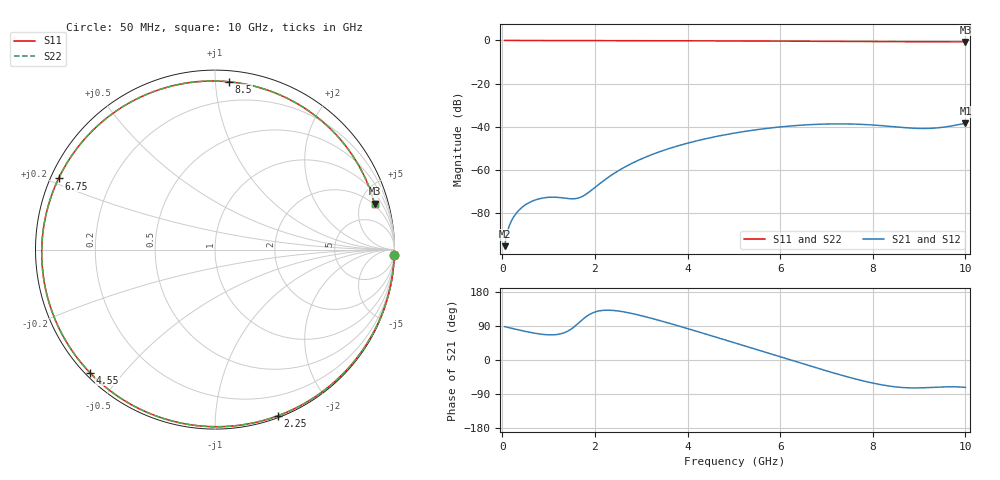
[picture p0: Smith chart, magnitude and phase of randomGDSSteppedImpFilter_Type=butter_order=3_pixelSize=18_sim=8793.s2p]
! freq	dB(S11)	phase(S11)	dB(S12)	phase(S12)
!  dB(S21)	phase(S21)	dB(S22)	phase(S22)
!S-par simulation data
#  GHz  S  DB  R 50
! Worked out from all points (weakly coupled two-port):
!   200 points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, 50 MHz to 10 GHz, reference 50 ohm
!   highest |S21| = -38.39 dB at 10 GHz (marker M1); lowest = -95.3 dB at 50 MHz (marker M2)
!   lowest |S11| = -0.7 dB at 10 GHz (marker M3), VSWR 25.69, Z = 92.5 + j329 ohm
!   |S11| at or under -10 dB: nowhere
!   |S22| runs from -0.7 to 0.0 dB; largest |S21 - S12| = 0
!   S11 on the Smith chart (normalised r, x): 50 MHz: 2, -72; 2.25 GHz: 0.02, -1.45; 4.55 GHz: 0.01, -0.41; 6.75 GHz: 0.02, +0.22; 8.5 GHz: 0.07, +1.08; 10 GHz: 1.85, +6.57
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0.05  -0.01 -1.6  -95.32 88.1  -95.32 88.1  -0.01 -1.6
0.3  -0.01 -9.5  -80.10 80.8  -80.10 80.8  -0.01 -9.5
0.55  -0.02 -17.3  -75.49 74.1  -75.49 74.1  -0.02 -17.3
0.85  -0.03 -26.7  -73.10 67.9  -73.10 67.9  -0.03 -26.7
1.55  -0.06 -48.2  -73.34 87.4  -73.34 87.4  -0.06 -48.2
1.75  -0.07 -54.3  -72.02 108.6  -72.02 108.6  -0.07 -54.3
2.25  -0.09 -69.2  -64.00 131.4  -64.00 131.4  -0.09 -69.2
2.75  -0.11 -83.8  -57.46 124.0  -57.46 124.0  -0.11 -83.9
3.4  -0.13 -102.6  -51.54 104.1  -51.54 104.1  -0.13 -102.6
3.95  -0.16 -118.3  -47.89 84.7  -47.89 84.7  -0.16 -118.3
4.55  -0.19 -135.5  -44.81 62.7  -44.81 62.7  -0.19 -135.5
5.05  -0.23 -150.1  -42.79 44.0  -42.79 44.0  -0.23 -150.1
5.9  -0.30 -176.1  -40.29 12.1  -40.29 12.1  -0.30 -176.1
6.7  -0.37 157.3  -38.95 -17.8  -38.95 -17.8  -0.37 157.3
6.75  -0.38 155.5  -38.90 -19.7  -38.90 -19.7  -0.38 155.5
7.2  -0.42 139.1  -38.65 -35.8  -38.65 -35.8  -0.42 139.1
7.65  -0.47 121.5  -38.79 -50.8  -38.79 -50.8  -0.47 121.5
8.35  -0.54 91.9  -39.77 -68.7  -39.77 -68.7  -0.54 91.9
8.5  -0.55 85.2  -40.06 -71.1  -40.06 -71.1  -0.55 85.2
9.2  -0.61 53.0  -40.77 -72.7  -40.77 -72.7  -0.61 53.0
9.6  -0.64 34.4  -39.96 -70.7  -39.96 -70.7  -0.64 34.4
10  -0.68 16.1  -38.39 -72.3  -38.39 -72.3  -0.68 16.1
